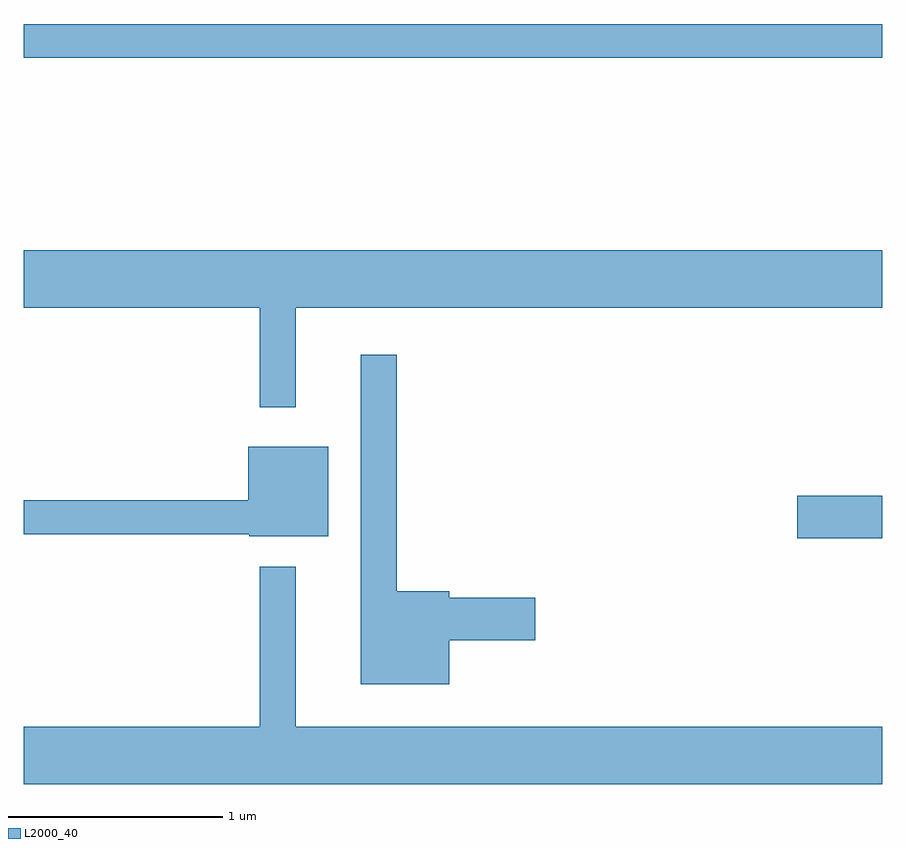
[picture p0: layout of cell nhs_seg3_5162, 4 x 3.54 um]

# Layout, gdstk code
import gdstk
lib = gdstk.Library(unit=1e-6, precision=1e-09)
def R(c, l, rs):  # rectangles x0, y0, x1, y1
    for r in rs: c.add(gdstk.rectangle(r[:2], r[2:], *l))
def P(c, l, *ps):  # polygons
    for p in ps: c.add(gdstk.Polygon(p, *l))
L2000_40 = (2000, 40)

nhs_seg3_5162 = lib.new_cell('nhs_seg3_5162')
R(nhs_seg3_5162, L2000_40, [(339.216,1249.261,339.611,1249.459), (335.611,1251.501,339.611,1251.659)])
P(nhs_seg3_5162, L2000_40, [(336.879,1250.336),(339.611,1250.336),(339.611,1250.604),(335.611,1250.604),(335.611,1250.336),(336.711,1250.336),(336.711,1249.873),(336.879,1249.873)],
  [(337.594,1248.786),(337.994,1248.786),(337.994,1248.984),(337.594,1248.984),(337.594,1249.014),(337.349,1249.014),(337.349,1250.118),(337.181,1250.118),(337.181,1248.581),(337.594,1248.581)],
  [(337.029,1249.689),(336.656,1249.689),(336.656,1249.439),(335.611,1249.439),(335.611,1249.281),(336.66,1249.281),(336.66,1249.271),(337.029,1249.271)],
  [(339.611,1248.384),(336.879,1248.384),(336.879,1249.128),(336.711,1249.128),(336.711,1248.384),(335.611,1248.384),(335.611,1248.116),(339.611,1248.116)])

lib.write_gds('nhs_seg3_5162.gds')
